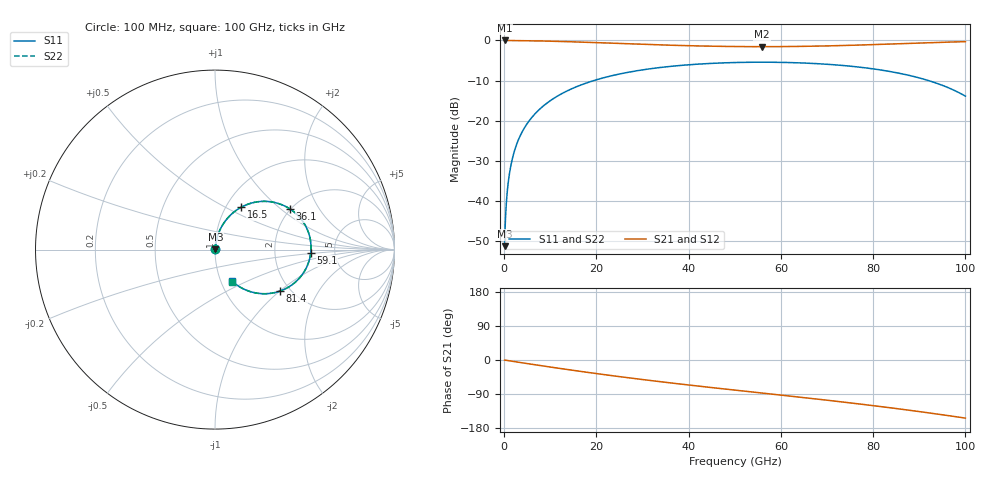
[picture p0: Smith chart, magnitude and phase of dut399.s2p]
! Touchstone file exported from HFSS 2026.1.0
!  File:  C:/ffzhzh/LocalFiles/Ansys_Project_Files/temp_train_RDL_399_1783504033_41296.aedt
!  Generated:  05:48:37 PM Jul  8, 2026
!  Design:  RDL
!  Project:  temp_train_RDL_399_1783504033_41296
! Variables:
!  h_bsmrdl = 2um
!  h_ox = 20um
!  h_rdl = 5um
!  h_sub = 80um
!  h_tmrdl = 4.28um
!  h_tsv = 80um
!  h_via = 3um
!  l_bsmrdl = 300um
!  l_sub = 910.12um
!  l_tmrdl = 510.12um
!  m_sub = 200um
!  pitch = 56.44um
!  r_tsv = 6um
!  s_tmrdl = 10um
!  w_bsmrdl = 18um
!  w_sub = 500um
!  w_tmrdl = 26.68um
!  x_tsv_center1 = 523.46um
!  x_tsv_center2 = 841.46um
!  x_tsv_center3 = 1378.26um
!  x_tsv_center4 = 1696.26um
!  x_tsv_center5 = 2233.06um
!  x_tsv_center6 = 2551.06um
# GHz S MA R 50.000000
! Terminal data exported
! Port[1] = TM_RDL1_1_T1
! Port[2] = TM_RDL1_1_T2
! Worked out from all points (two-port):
!   1000 points, 100 MHz to 100 GHz, reference 50 ohm
!   highest |S21| = -0.02 dB at 100 MHz (marker M1); lowest = -1.6 dB at 55.9 GHz (marker M2)
!   |S21| within 3 dB of the highest: start of sweep to end of sweep
!   lowest |S11| = -51.2 dB at 100 MHz (marker M3), VSWR 1.01, Z = 50.2 + j0.208 ohm
!   |S11| at or under -10 dB: start of sweep to 19.45 GHz; 91.99 GHz to end of sweep
!   |S22| runs from -51.2 to -5.4 dB; largest |S21 - S12| = 1.9e-14
!   S11 on the Smith chart (normalised r, x): 100 MHz: 1.00, +0.00; 16.5 GHz: 1.17, +0.60; 36.1 GHz: 1.98, +1.16; 59.1 GHz: 3.28, -0.17; 81.4 GHz: 1.78, -1.01; 100 GHz: 1.13, -0.42
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0.1  0.002739 49.0  0.9982 -0.2  0.9982 -0.2  0.002739 49.0
! Gamma 0 0 0 0
! Port Impedance 50 0 50 0
0.8  0.01543 79.9  0.9976 -1.5  0.9976 -1.5  0.01543 79.9
1.1  0.021 81.4  0.9974 -2.1  0.9974 -2.1  0.021 81.4
1.4  0.02658 82.0  0.9972 -2.7  0.9972 -2.7  0.02658 82.0
2.4  0.04514 81.8  0.9961 -4.6  0.9961 -4.6  0.04514 81.8
3.9  0.07255 79.7  0.9937 -7.4  0.9937 -7.4  0.07255 79.7
6  0.1098 76.2  0.9892 -11.3  0.9892 -11.3  0.1098 76.2
8.8  0.1576 71.4  0.9816 -16.4  0.9816 -16.4  0.1576 71.4
12.3  0.2142 65.5  0.9698 -22.7  0.9698 -22.7  0.2142 65.4
16.5  0.2765 58.4  0.9531 -30.0  0.9531 -30.0  0.2765 58.4
16.8  0.2807 57.9  0.9519 -30.5  0.9519 -30.5  0.2807 57.9
24.2  0.3728 46.1  0.9191 -42.6  0.9191 -42.6  0.3728 46.0
33.4  0.4566 32.3  0.8805 -56.6  0.8805 -56.6  0.4566 32.3
36.1  0.475 28.5  0.8708 -60.5  0.8708 -60.5  0.475 28.5
50.1  0.5304 9.7  0.8386 -79.6  0.8386 -79.6  0.5304 9.7
55.9  0.5353 2.2  0.8355 -87.2  0.8355 -87.2  0.5353 2.2
59.1  0.5337 -2.0  0.8364 -91.4  0.8364 -91.4  0.5337 -2.0
66.7  0.5173 -11.9  0.8462 -101.6  0.8462 -101.6  0.5173 -11.9
81.4  0.4303 -32.4  0.8914 -122.5  0.8914 -122.5  0.4304 -32.5
83.4  0.4122 -35.4  0.8994 -125.6  0.8994 -125.6  0.4123 -35.4
92.5  0.3097 -49.5  0.9375 -140.3  0.9375 -140.3  0.3097 -49.5
100  0.2022 -61.4  0.964 -153.3  0.964 -153.3  0.2023 -61.5
